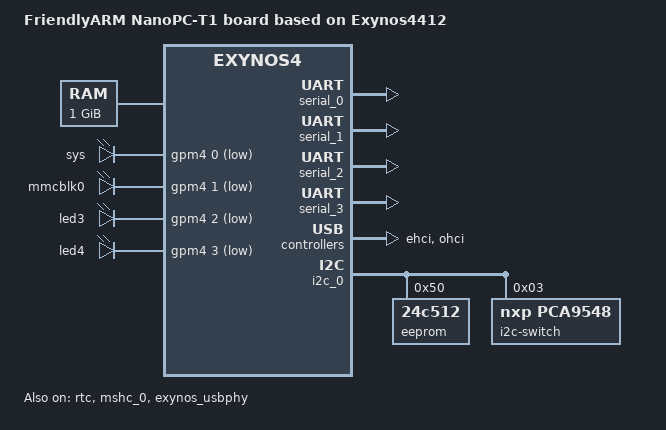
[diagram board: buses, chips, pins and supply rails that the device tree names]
/*
 * FriendlyARM's Exynos4412 based NanoPC-T1 board device tree source
 *
 * Copyright (c) 2025
 *
 * Device tree source file for FriendlyARM's NanoPC-T1 board which is based on
 * Samsung's Exynos4412 SoC.
 *
 * This program is free software; you can redistribute it and/or modify
 * it under the terms of the GNU General Public License version 2 as
 * published by the Free Software Foundation.
*/

/dts-v1/;
#include "exynos4412.dtsi"
#include <dt-bindings/gpio/gpio.h>

/ {
	model = "FriendlyARM NanoPC-T1 board based on Exynos4412";
	compatible = "friendlyarm,nanopc-t1", "samsung,exynos4412", "samsung,exynos4";

	chosen {
		stdout-path = &serial_0;
	};

	memory@40000000 {
		device_type = "memory";
		reg = <0x40000000 0x40000000>;
	};

	leds {
		compatible = "gpio-leds";

		led1 {
			label = "sys";
			gpios = <&gpm4 0 GPIO_ACTIVE_LOW>;
			default-state = "off";
			linux,default-trigger = "heartbeat";
		};

		led2 {
			label = "mmcblk0";
			gpios = <&gpm4 1 GPIO_ACTIVE_LOW>;
			default-state = "off";
			linux,default-trigger = "mmc0";
		};

		led3 {
			label = "led3";
			gpios = <&gpm4 2 GPIO_ACTIVE_LOW>;
			default-state = "off";
		};

		led4 {
			label = "led4";
			gpios = <&gpm4 3 GPIO_ACTIVE_LOW>;
			default-state = "off";
		};
	};

	fixed-rate-clocks {
		xxti {
			compatible = "samsung,clock-xxti";
			clock-frequency = <0>;
		};

		xusbxti {
			compatible = "samsung,clock-xusbxti";
			clock-frequency = <24000000>;
		};

		pmic_ap_clk: pmic-ap-clk {
			/* Workaround for missing clock on PMIC */
			compatible = "fixed-clock";
			#clock-cells = <0>;
			clock-frequency = <32768>;
		};
	};
};

&cpu_thermal {
	cooling-maps {
		cooling_map0: map0 {
			/* Corresponds to 800MHz at freq_table */
			cooling-device = <&cpu0 7 7>, <&cpu1 7 7>,
					 <&cpu2 7 7>, <&cpu3 7 7>;
		};
		cooling_map1: map1 {
			/* Corresponds to 200MHz at freq_table */
			cooling-device = <&cpu0 13 13>, <&cpu1 13 13>,
					 <&cpu2 13 13>, <&cpu3 13 13>;
		};
	};
};

&rtc {
	status = "okay";
	clocks = <&clock CLK_RTC>, <&pmic_ap_clk>;
	clock-names = "rtc", "rtc_src";
};

&sdhci_2 {
	bus-width = <4>;
	pinctrl-0 = <&sd2_clk &sd2_cmd &sd2_cd &sd2_bus4>;
	pinctrl-names = "default";
	status = "disabled";
};

&mshc_0 {
	pinctrl-0 = <&sd4_clk &sd4_cmd &sd4_bus4 &sd4_bus8>;
	pinctrl-names = "default";
	broken-cd;
	card-detect-delay = <200>;
	samsung,dw-mshc-ciu-div = <3>;
	samsung,dw-mshc-sdr-timing = <2 3>;
	samsung,dw-mshc-ddr-timing = <1 2>;
	bus-width = <8>;
	cap-mmc-highspeed;
	status = "okay";
};

&serial_0 {
	status = "okay";
};

&serial_1 {
	status = "okay";
};

&serial_2 {
	status = "okay";
};

&serial_3 {
	status = "okay";
};

&ehci {
	status = "okay";
	/* In order to reset USB ethernet */
	samsung,vbus-gpio = <&gpm2 4 GPIO_ACTIVE_HIGH>;

	port@0 {
		status = "okay";
	};

	port@1 {
		status = "okay";
	};

	port@2 {
		status = "okay";
	};
};

&ohci {
	status = "okay";
	port@0 {
		status = "okay";
	};
};

&exynos_usbphy {
	status = "okay";
};

&i2c_0 {
	status = "okay";
	samsung,i2c-max-bus-freq = <200000>;

	eeprom@50 {
		compatible = "24c512";
		reg = <0x50>;
	};

	i2c-switch@3 {
		compatible = "nxp,pca9548";
		#address-cells = <1>;
		#size-cells = <0>;
		reg = <0x03>;

		i2c@0 {
			#address-cells = <1>;
			#size-cells = <0>;
			reg = <0>;
			i2c-mux-idle-disconnect;
		};

		i2c@1 {
			#address-cells = <1>;
			#size-cells = <0>;
			reg = <1>;
			i2c-mux-idle-disconnect;
		};

		i2c@2 {
			#address-cells = <1>;
			#size-cells = <0>;
			reg = <2>;
			i2c-mux-idle-disconnect;
		};
	};
};

